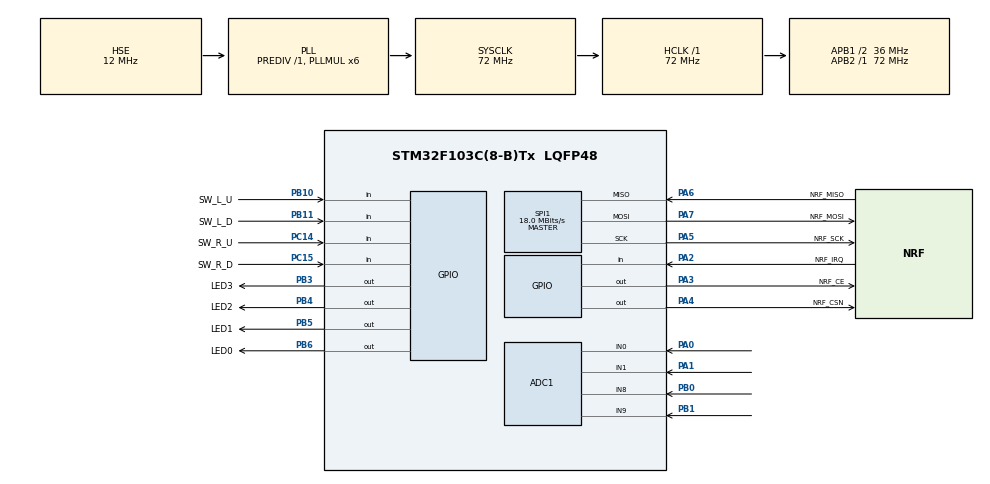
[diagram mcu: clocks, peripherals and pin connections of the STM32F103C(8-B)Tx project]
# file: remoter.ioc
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ADC1.Channel-0\#ChannelRegularConversion=ADC_CHANNEL_0
ADC1.Channel-1\#ChannelRegularConversion=ADC_CHANNEL_1
ADC1.Channel-2\#ChannelRegularConversion=ADC_CHANNEL_8
ADC1.Channel-3\#ChannelRegularConversion=ADC_CHANNEL_9
ADC1.ContinuousConvMode=ENABLE
ADC1.DataAlign=ADC_DATAALIGN_RIGHT
ADC1.DiscontinuousConvMode=DISABLE
ADC1.EnableAnalogWatchDog=false
ADC1.EnableRegularConversion=ENABLE
ADC1.ExternalTrigConv=ADC_SOFTWARE_START
ADC1.InjNumberOfConversion=0
ADC1.NbrOfConversion=4
ADC1.NbrOfConversionFlag=1
ADC1.Rank-0\#ChannelRegularConversion=1
ADC1.Rank-1\#ChannelRegularConversion=2
ADC1.Rank-2\#ChannelRegularConversion=3
ADC1.Rank-3\#ChannelRegularConversion=4
ADC1.SamplingTime-0\#ChannelRegularConversion=ADC_SAMPLETIME_55CYCLES_5
ADC1.SamplingTime-1\#ChannelRegularConversion=ADC_SAMPLETIME_55CYCLES_5
ADC1.SamplingTime-2\#ChannelRegularConversion=ADC_SAMPLETIME_55CYCLES_5
ADC1.SamplingTime-3\#ChannelRegularConversion=ADC_SAMPLETIME_55CYCLES_5
ADC1.ScanConvMode=ADC_SCAN_ENABLE
ADC1.master=1
Dma.ADC1.0.Direction=DMA_PERIPH_TO_MEMORY
Dma.ADC1.0.Instance=DMA1_Channel1
Dma.ADC1.0.MemDataAlignment=DMA_MDATAALIGN_WORD
Dma.ADC1.0.MemInc=DMA_MINC_ENABLE
Dma.ADC1.0.Mode=DMA_CIRCULAR
Dma.ADC1.0.PeriphDataAlignment=DMA_PDATAALIGN_WORD
Dma.ADC1.0.PeriphInc=DMA_PINC_DISABLE
Dma.ADC1.0.Priority=DMA_PRIORITY_HIGH
Dma.Request0=ADC1
Mcu.Family=STM32F1
Mcu.Name=STM32F103C(8-B)Tx
Mcu.Package=LQFP48
NVIC.DMA1_Channel1_IRQn=true\:0\:0\:false\:false\:true\:false
NVIC.PriorityGroup=NVIC_PRIORITYGROUP_4
PA0-WKUP.Signal=ADCx_IN0
PA1.Signal=ADCx_IN1
PA13.Mode=Serial_Wire
PA13.Signal=SYS_JTMS-SWDIO
PA14.Mode=Serial_Wire
PA14.Signal=SYS_JTCK-SWCLK
PA2.GPIO_Label=NRF_IRQ
PA2.Signal=GPIO_Input
PA3.GPIO_Label=NRF_CE
PA3.GPIO_Speed=GPIO_SPEED_FREQ_HIGH
PA3.Signal=GPIO_Output
PA4.GPIO_Label=NRF_CSN
PA4.GPIO_Speed=GPIO_SPEED_FREQ_HIGH
PA4.Signal=GPIO_Output
PA5.GPIO_Label=NRF_SCK
PA5.Mode=Full_Duplex_Master
PA5.Signal=SPI1_SCK
PA6.GPIO_Label=NRF_MISO
PA6.Mode=Full_Duplex_Master
PA6.Signal=SPI1_MISO
PA7.GPIO_Label=NRF_MOSI
PA7.Mode=Full_Duplex_Master
PA7.Signal=SPI1_MOSI
PB0.Signal=ADCx_IN8
PB1.Signal=ADCx_IN9
PB10.GPIO_Label=SW_L_U
PB10.GPIO_PuPd=GPIO_PULLUP
PB10.Signal=GPIO_Input
PB11.GPIO_Label=SW_L_D
PB11.GPIO_PuPd=GPIO_PULLUP
PB11.Signal=GPIO_Input
PB3.GPIO_Label=LED3
PB3.GPIO_Speed=GPIO_SPEED_FREQ_HIGH
PB3.Signal=GPIO_Output
PB4.GPIO_Label=LED2
PB4.GPIO_Speed=GPIO_SPEED_FREQ_HIGH
PB4.Signal=GPIO_Output
PB5.GPIO_Label=LED1
PB5.GPIO_Speed=GPIO_SPEED_FREQ_HIGH
PB5.Signal=GPIO_Output
PB6.GPIO_Label=LED0
PB6.GPIO_Speed=GPIO_SPEED_FREQ_HIGH
PB6.Signal=GPIO_Output
PC14-OSC32_IN.GPIO_Label=SW_R_U
PC14-OSC32_IN.GPIO_PuPd=GPIO_PULLUP
PC14-OSC32_IN.Signal=GPIO_Input
PC15-OSC32_OUT.GPIO_Label=SW_R_D
PC15-OSC32_OUT.GPIO_PuPd=GPIO_PULLUP
PC15-OSC32_OUT.Signal=GPIO_Input
PD0-OSC_IN.Mode=HSE-External-Oscillator
PD0-OSC_IN.Signal=RCC_OSC_IN
PD1-OSC_OUT.Mode=HSE-External-Oscillator
PD1-OSC_OUT.Signal=RCC_OSC_OUT
ProjectManager.HeapSize=0x200
ProjectManager.StackSize=0x400
ProjectManager.TargetToolchain=MDK-ARM V5
RCC.ADCPresc=RCC_ADCPCLK2_DIV6
RCC.AHBFreq_Value=72000000
RCC.APB1CLKDivider=RCC_HCLK_DIV2
RCC.APB1Freq_Value=36000000
RCC.APB1TimFreq_Value=72000000
RCC.APB2Freq_Value=72000000
RCC.APB2TimFreq_Value=72000000
RCC.HCLKFreq_Value=72000000
RCC.HSE_VALUE=12000000
RCC.PLLMUL=RCC_PLL_MUL6
RCC.PLLSourceVirtual=RCC_PLLSOURCE_HSE
RCC.SYSCLKFreq_VALUE=72000000
RCC.SYSCLKSource=RCC_SYSCLKSOURCE_PLLCLK
RCC.USBFreq_Value=72000000
SH.ADCx_IN0.0=ADC1_IN0,IN0
SH.ADCx_IN1.0=ADC1_IN1,IN1
SH.ADCx_IN8.0=ADC1_IN8,IN8
SH.ADCx_IN9.0=ADC1_IN9,IN9
SPI1.BaudRatePrescaler=SPI_BAUDRATEPRESCALER_4
SPI1.CalculateBaudRate=18.0 MBits/s
SPI1.Direction=SPI_DIRECTION_2LINES
SPI1.Mode=SPI_MODE_MASTER
SPI1.VirtualType=VM_MASTER
board=remoter

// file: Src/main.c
/**
  ******************************************************************************
  * File Name          : main.c
  * Description        : Main program body
  ******************************************************************************
  ** This notice applies to any and all portions of this file
  * that are not between comment pairs USER CODE BEGIN and
  * USER CODE END. Other portions of this file, whether
  * inserted by the user or by software development tools
  * are owned by their respective copyright owners.
  *
  * COPYRIGHT(c) 2018 STMicroelectronics
  *
  * Redistribution and use in source and binary forms, with or without modification,
  * are permitted provided that the following conditions are met:
  *   1. Redistributions of source code must retain the above copyright notice,
  *      this list of conditions and the following disclaimer.
  *   2. Redistributions in binary form must reproduce the above copyright notice,
  *      this list of conditions and the following disclaimer in the documentation
  *      and/or other materials provided with the distribution.
  *   3. Neither the name of STMicroelectronics nor the names of its contributors
  *      may be used to endorse or promote products derived from this software
  *      without specific prior written permission.
  *
  * THIS SOFTWARE IS PROVIDED BY THE COPYRIGHT HOLDERS AND CONTRIBUTORS "AS IS"
  * AND ANY EXPRESS OR IMPLIED WARRANTIES, INCLUDING, BUT NOT LIMITED TO, THE
  * IMPLIED WARRANTIES OF MERCHANTABILITY AND FITNESS FOR A PARTICULAR PURPOSE ARE
  * DISCLAIMED. IN NO EVENT SHALL THE COPYRIGHT HOLDER OR CONTRIBUTORS BE LIABLE
  * FOR ANY DIRECT, INDIRECT, INCIDENTAL, SPECIAL, EXEMPLARY, OR CONSEQUENTIAL
  * DAMAGES (INCLUDING, BUT NOT LIMITED TO, PROCUREMENT OF SUBSTITUTE GOODS OR
  * SERVICES; LOSS OF USE, DATA, OR PROFITS; OR BUSINESS INTERRUPTION) HOWEVER
  * CAUSED AND ON ANY THEORY OF LIABILITY, WHETHER IN CONTRACT, STRICT LIABILITY,
  * OR TORT (INCLUDING NEGLIGENCE OR OTHERWISE) ARISING IN ANY WAY OUT OF THE USE
  * OF THIS SOFTWARE, EVEN IF ADVISED OF THE POSSIBILITY OF SUCH DAMAGE.
  *
  ******************************************************************************
  */

#include "main.h"
#include "stm32f1xx_hal.h"
#include "adc.h"
#include "dma.h"
#include "spi.h"
#include "gpio.h"

/* USER CODE BEGIN Includes */
#include "nrf24.h"
#include "wireless.h"
// 用于保存转换计算后的电压值
__IO float ADC_ConvertedValueLocal[ADC_NUMOFCHANNEL];

uint32_t ADC_ConvertedValue[ADC_NUMOFCHANNEL];
float ADC_THRUS;

uint16_t i,j,k;
/* USER CODE END Includes */

/* USER CODE BEGIN PV */
/* Private variables ---------------------------------------------------------*/

/* USER CODE END PV */

void SystemClock_Config(void);

/* USER CODE BEGIN PFP */
/* Private function prototypes -----------------------------------------------*/

/* USER CODE END PFP */

int main(void)
{

  /* MCU Configuration----------------------------------------------------------*/

  /* Reset of all peripherals, Initializes the Flash interface and the Systick. */
  HAL_Init();

  /* Configure the system clock */
  SystemClock_Config();

  /* Initialize all configured peripherals */
  MX_GPIO_Init();
  MX_DMA_Init();
  MX_ADC1_Init();
  MX_SPI1_Init();

  /* USER CODE BEGIN 2 */
	wireless_init();
	NRF24L01_Init();
	NRF24L01_TX_Mode();
	HAL_ADCEx_Calibration_Start(&hadc1);
	HAL_GPIO_WritePin(GPIOB, GPIO_PIN_6, GPIO_PIN_SET);
	HAL_Delay(1000);
	HAL_GPIO_WritePin(GPIOB, GPIO_PIN_3, GPIO_PIN_SET);
	HAL_ADC_Start_DMA(&hadc1,ADC_ConvertedValue,ADC_NUMOFCHANNEL);
  /* USER CODE END 2 */

  /* Infinite loop */
  while (1)
  {

  /* USER CODE BEGIN 3 */
		/* 3.3为AD转换的参考电压值，stm32的AD转换为12bit，2^12=4096，
				即当输入为3.3V时，AD转换结果为4096 */
		for(i=0;i<4;i++)
			ADC_ConvertedValueLocal[i] = 0;
		for(j=0;j<5;j++)
		{
			ADC_ConvertedValueLocal[0] +=(float)(ADC_ConvertedValue[0]&0xFFF)*3.3/4096; // ADC_ConvertedValue[0]只取最低12有效数据
			//yaw
			ADC_ConvertedValueLocal[1] +=(float)(ADC_ConvertedValue[1]&0xFFF)*3.3/4096; // ADC_ConvertedValue[1]只取最低12有效数据
			//thrus
			ADC_ConvertedValueLocal[2] +=(float)(ADC_ConvertedValue[2]&0xFFF)*3.3/4096; // ADC_ConvertedValue[2]只取最低12有效数据
			//roll
			ADC_ConvertedValueLocal[3] +=(float)(ADC_ConvertedValue[3]&0xFFF)*3.3/4096; // ADC_ConvertedValue[3]只取最低12有效数据
			//pitch
		}
		ADC_THRUS = ADC_ConvertedValueLocal[1] / 5.00f;
		remoter_data.thrus_value = 0;

		if(ADC_THRUS> 1.5)
		{
			if(ADC_THRUS>3)
				ADC_THRUS = 3.0f;
			while(ADC_THRUS> 1.75)
			{
				ADC_THRUS -= 0.05f;
				remoter_data.thrus_value += 1;
			}
		}
		else
		{
			while(ADC_THRUS< 1.25)
			{
				ADC_THRUS += 0.05f;
				remoter_data.thrus_value += 1;
			}
		}
		wireless_transmit();
  }

  /* USER CODE END 3 */

}

/** System Clock Configuration
*/
void SystemClock_Config(void)
{

  RCC_OscInitTypeDef RCC_OscInitStruct;
  RCC_ClkInitTypeDef RCC_ClkInitStruct;
  RCC_PeriphCLKInitTypeDef PeriphClkInit;

    /**Initializes the CPU, AHB and APB busses clocks
    */
  RCC_OscInitStruct.OscillatorType = RCC_OSCILLATORTYPE_HSE;
  RCC_OscInitStruct.HSEState = RCC_HSE_ON;
  RCC_OscInitStruct.HSEPredivValue = RCC_HSE_PREDIV_DIV1;
  RCC_OscInitStruct.HSIState = RCC_HSI_ON;
  RCC_OscInitStruct.PLL.PLLState = RCC_PLL_ON;
  RCC_OscInitStruct.PLL.PLLSource = RCC_PLLSOURCE_HSE;
  RCC_OscInitStruct.PLL.PLLMUL = RCC_PLL_MUL6;
  if (HAL_RCC_OscConfig(&RCC_OscInitStruct) != HAL_OK)
  {
    _Error_Handler(__FILE__, __LINE__);
  }

    /**Initializes the CPU, AHB and APB busses clocks
    */
  RCC_ClkInitStruct.ClockType = RCC_CLOCKTYPE_HCLK|RCC_CLOCKTYPE_SYSCLK
                              |RCC_CLOCKTYPE_PCLK1|RCC_CLOCKTYPE_PCLK2;
  RCC_ClkInitStruct.SYSCLKSource = RCC_SYSCLKSOURCE_PLLCLK;
  RCC_ClkInitStruct.AHBCLKDivider = RCC_SYSCLK_DIV1;
  RCC_ClkInitStruct.APB1CLKDivider = RCC_HCLK_DIV2;
  RCC_ClkInitStruct.APB2CLKDivider = RCC_HCLK_DIV1;

  if (HAL_RCC_ClockConfig(&RCC_ClkInitStruct, FLASH_LATENCY_2) != HAL_OK)
  {
    _Error_Handler(__FILE__, __LINE__);
  }

  PeriphClkInit.PeriphClockSelection = RCC_PERIPHCLK_ADC;
  PeriphClkInit.AdcClockSelection = RCC_ADCPCLK2_DIV6;
  if (HAL_RCCEx_PeriphCLKConfig(&PeriphClkInit) != HAL_OK)
  {
    _Error_Handler(__FILE__, __LINE__);
  }

    /**Configure the Systick interrupt time
    */
  HAL_SYSTICK_Config(HAL_RCC_GetHCLKFreq()/1000);

    /**Configure the Systick
    */
  HAL_SYSTICK_CLKSourceConfig(SYSTICK_CLKSOURCE_HCLK);

  /* SysTick_IRQn interrupt configuration */
  HAL_NVIC_SetPriority(SysTick_IRQn, 0, 0);
}

void _Error_Handler(char * file, int line)
{
  while(1)
  {
  }
}

/************************ (C) COPYRIGHT STMicroelectronics *****END OF FILE****/
